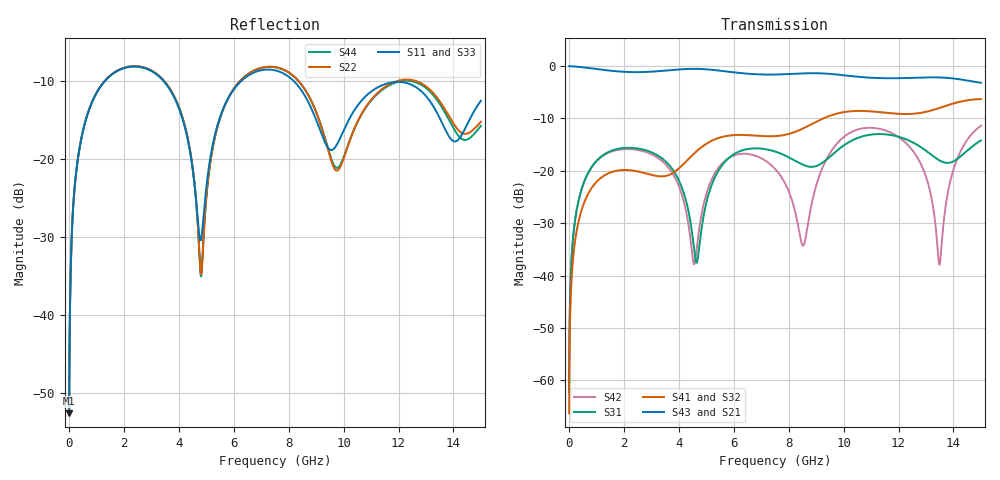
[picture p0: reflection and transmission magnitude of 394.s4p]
! Created with skrf 1.8.0 (http://scikit-rf.org).
# GHz S RI R 50.0
!freq ReS11 ImS11 ReS12 ImS12 ReS13 ImS13
! ReS14 ImS14
! ReS21 ImS21 ReS22 ImS22 ReS23 ImS23
! ReS24 ImS24
! ReS31 ImS31 ReS32 ImS32 ReS33 ImS33
! ReS34 ImS34
! ReS41 ImS41 ReS42 ImS42 ReS43 ImS43
! ReS44 ImS44
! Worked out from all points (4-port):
!   2499 points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, 5 MHz to 15 GHz, reference 50 ohm
!   strongest paths, dB at 5 MHz, 3.476 GHz, 7.19 GHz, 11.1 GHz, 15 GHz:
!     S43: 0.0, -0.9, -1.6, -2.3, -3.2
!     S21: 0.0, -0.9, -1.6, -2.3, -3.2
!     S41: -66.3, -21.0, -13.4, -8.7, -6.3
!     S32: -66.3, -21.1, -13.4, -8.7, -6.4
!     S31: -62.3, -18.0, -15.9, -13.0, -14.2
!     S42: -62.3, -18.5, -18.2, -11.8, -11.4
!   lowest |S11| = -52.6 dB at 5 MHz (marker M1), VSWR 1.00, Z = 50.2 + j0.142 ohm
!   |S11| at or under -10 dB: start of sweep to 1.321 GHz; 3.432 GHz to 6.288 GHz (2.856 GHz wide, 58.8 % of centre); 8.17 GHz to end of sweep
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0.005  0.00186 0.00141  0.9981 -0.00363  9.53e-05 0.000762  -9.23e-05 -0.000475
       0.9981 -0.00363  0.00186 0.00141  -9.23e-05 -0.000475  9.51e-05 0.000763
       9.53e-05 0.000762  -9.23e-05 -0.000475  0.00186 0.00141  0.9981 -0.00363
       -9.23e-05 -0.000475  9.51e-05 0.000763  0.9981 -0.00363  0.00186 0.00141
1.419341  0.2808 0.1724  0.5217 -0.7439  0.1399 0.055  -0.0942 -0.00129
          0.5217 -0.7439  0.2832 0.1707  -0.0941 -0.00139  0.133 0.065
          0.1399 0.055  -0.0941 -0.00139  0.2808 0.1723  0.5218 -0.7439
          -0.0942 -0.00129  0.133 0.065  0.5218 -0.7439  0.2831 0.1707
4.808253  0.0301 0.00415  -0.9358 -0.0659  -0.00486 0.0252  -0.00621 0.1666
          -0.9358 -0.0659  0.0181 -0.00107  -0.0077 0.1665  0.0183 0.0311
          -0.00486 0.0252  -0.0077 0.1665  0.0304 0.00495  -0.9358 -0.0659
          -0.00621 0.1666  0.0183 0.0311  -0.9358 -0.0659  0.0176 -0.000358
7.221759  0.3716 0.0226  -0.1061 0.8231  0.1187 -0.1069  0.2124 -0.025
          -0.1061 0.8231  0.3874 0.0148  0.2118 -0.0219  0.113 -0.0447
          0.1187 -0.1069  0.2118 -0.0219  0.3721 0.0205  -0.1068 0.8231
          0.2124 -0.025  0.113 -0.0447  -0.1068 0.8231  0.3867 0.0173
9.891622  0.1312 0.0413  0.8229 -0.012  -0.0104 0.1659  -0.023 -0.3579
          0.8229 -0.012  0.0887 0.0104  -0.017 -0.3589  0.0677 0.1861
          -0.0104 0.1659  -0.017 -0.3589  0.1271 0.0421  0.8232 -0.01
          -0.023 -0.3579  0.0677 0.1861  0.8232 -0.01  0.0917 0.00844
13.49312  0.1642 -0.0813  -0.4853 -0.6073  -0.0841 -0.0934  -0.3033 0.2584
          -0.4853 -0.6073  0.203 -0.1171  -0.3076 0.2522  -0.0116 -0.00515
          -0.0841 -0.0934  -0.3076 0.2522  0.1621 -0.0715  -0.485 -0.6098
          -0.3033 0.2584  -0.0116 -0.00515  -0.485 -0.6098  0.193 -0.1168
15  0.2206 0.0801  -0.6912 0.0586  0.0375 0.1914  0.0914 0.4754
    -0.6912 0.0586  0.1719 0.0135  0.0814 0.4727  0.157 0.2192
    0.0375 0.1914  0.0814 0.4727  0.2318 0.0914  -0.6902 0.0563
    0.0914 0.4754  0.157 0.2192  -0.6902 0.0563  0.1607 0.0218
